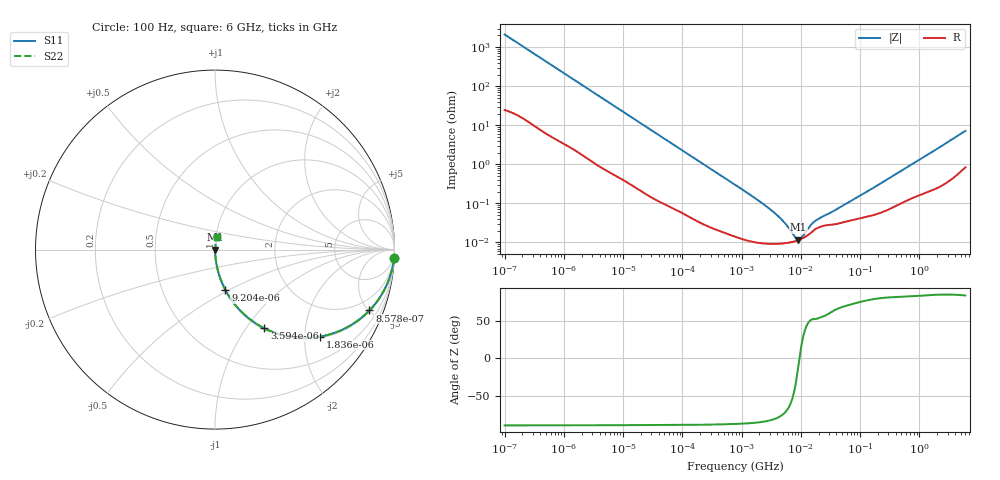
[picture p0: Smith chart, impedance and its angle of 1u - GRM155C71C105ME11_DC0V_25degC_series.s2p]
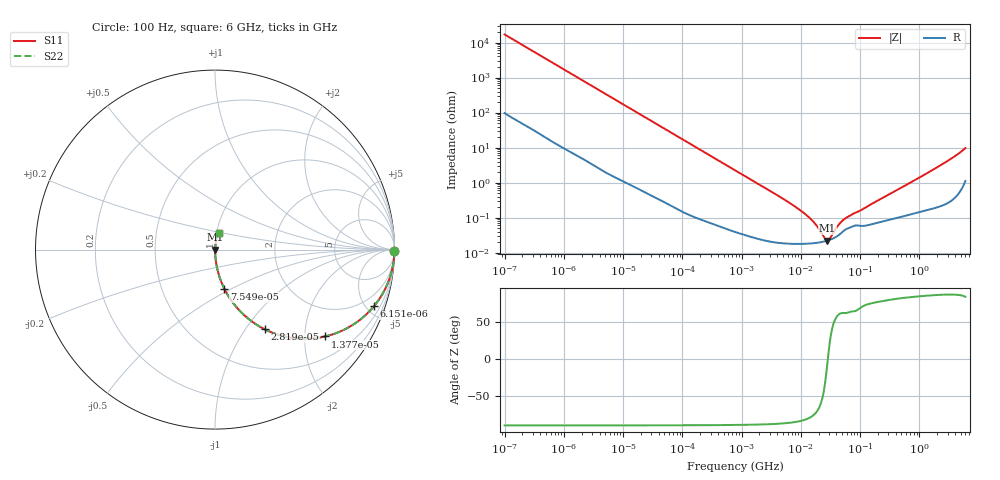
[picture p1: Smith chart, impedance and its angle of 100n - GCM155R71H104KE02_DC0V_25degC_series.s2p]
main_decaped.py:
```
# main_decap.py
# Compare IC Z11 with REAL decaps for both:
# (A) PowerSI 3-port Touchstone and (B) Your Python BEM/CIM/NVM Z.
# Frequency: 10 kHz – 200 MHz (log), just show the plot (no saving).

import numpy as np
import matplotlib.pyplot as plt
from pathlib import Path
from copy import deepcopy
import skrf as rf

from BEM_AC_NVM_PDN import PDN, short_1port, connect_1decap
from CIM_DC_RES import main_res
from input_AH import input_path, stackup_path, touchstone_path
from pdn_io.spd_parser import parse_spd
from pdn_io.stackup_parser import read_stackup
from pdn_analysis.plotting import plot_z_matrix

# ------------------ Config ------------------
FSTART  = 10e3          # 10 kHz
FSTOP   = 200e6         # 200 MHz
NPOINTS = 201           # log points

# Choose capacitor S2P files (vendor "series" models)
DECAP_FILES = {
    1: Path(r"capacitors\1u - GRM155C71C105ME11_DC0V_25degC_series.s2p"),     # decap @ port 1
    2: Path(r"capacitors\100n - GCM155R71H104KE02_DC0V_25degC_series.s2p"),   # decap @ port 2
}

TITLE = "IC Z11 with Real Decaps (PowerSI vs Python) — 10 kHz–200 MHz"


# ----------------- Helpers ------------------
def gen_brd_data(brd, spd_path: str, stackup_path: str, d: float = 1e-3):
    """Build board state and compute Z using your existing parsers and solvers."""
    parse_spd(
        brd, spd_path,
        ground_net="gnd", power_net="pwr",
        ic_port_tag="ic_port", decap_port_tag="decap_port",
        verbose=True
    )

    brd.sxy = np.concatenate([brd.seg_bd_node(single_bxy, d) for single_bxy in brd.bxy], axis=0)
    brd.sxy_index_ranges, offset = [], 0
    for b in brd.bxy:
        n_seg = brd.seg_bd_node(b, d).shape[0]
        brd.sxy_index_ranges.append((offset, offset + n_seg))
        offset += n_seg
    brd.sxy_list = [brd.seg_bd_node(b, d) for b in brd.bxy]

    die_t, er_list, d_r = read_stackup(stackup_path)
    brd.er_list, brd.die_t, brd.d_r = er_list, die_t, d_r

    res_matrix = main_res(brd=brd)
    z = brd.calc_z_fast(res_matrix=res_matrix, verbose=True)  # shape: (nf, 3, 3)
    return z


def _cap_to_shunt_z11(path: Path, freq: rf.Frequency) -> np.ndarray:
    """
    Convert vendor series S2P -> 1-port shunt-to-ground on 'freq'.
    Returns Z11(f) with shape (nf, 1, 1).
    """
    cap2p = rf.Network(str(path)).interpolate(freq)  # align to our 10 kHz..200 MHz grid
    cap1p, _ = short_1port(cap2p, shorted_port=1)    # short far port -> shunt 1-port
    return cap1p.z


# ------------------- Main -------------------
if __name__ == '__main__':

    # Unified frequency grid: 10 kHz .. 200 MHz (log)
    freq = np.logspace(np.log10(FSTART), np.log10(FSTOP), NPOINTS)
    Freq = rf.Frequency(start=FSTART/1e6, stop=FSTOP/1e6, npoints=NPOINTS, unit='mhz', sweep_type='log')

    # --- Load PowerSI 3-port on this grid
    pdn_ts = rf.Network(touchstone_path).interpolate(Freq)   # 3-port: [IC(0), decap1(1), decap2(2)]
    Z_ts = pdn_ts.z                                          # (nf, 3, 3)
    nf, n, _ = Z_ts.shape
    assert n == 3, "Expected a 3-port PDN (IC=0, decap1=1, decap2=2) in touchstone."

    # --- Build Python Z (your solver) on the same grid
    brd = PDN()
    # force PDN() to use the same grid for its internal calc
    brd.fstart = FSTART; brd.fstop = FSTOP; brd.nf = NPOINTS
    brd.freq = rf.Frequency(start=FSTART/1e6, stop=FSTOP/1e6, npoints=NPOINTS, unit='mhz', sweep_type='log')

    Z_py = gen_brd_data(brd, input_path, stackup_path)       # expect (nf, 3, 3)
    assert Z_py.shape[:2] == (NPOINTS, 3), "Python Z must be (nf,3,3) on the same grid."

    # --- Load two capacitor models and convert to shunt 1-port Z11 on this grid
    for p in (1, 2):
        if not DECAP_FILES[p].exists():
            raise FileNotFoundError(f"Cap file for port {p} not found: {DECAP_FILES[p]}")
    Zcap = {
        1: _cap_to_shunt_z11(DECAP_FILES[1], pdn_ts.frequency),  # (nf,1,1)
        2: _cap_to_shunt_z11(DECAP_FILES[2], pdn_ts.frequency),
    }

    # --- Connect decaps to PowerSI Z and reduce to IC-only
    Z_ts_cur = deepcopy(Z_ts)
    port_map_ts = [0, 1, 2]

    idx_p1 = port_map_ts.index(1)
    Z_ts_cur, port_map_ts = connect_1decap(Z_ts_cur, port_map_ts, idx_p1, Zcap[1])

    idx_p2 = port_map_ts.index(2)
    Z_ts_cur, port_map_ts = connect_1decap(Z_ts_cur, port_map_ts, idx_p2, Zcap[2])

    assert len(port_map_ts) == 1 and port_map_ts[0] == 0, f"Unexpected touchstone port map: {port_map_ts}"
    # Z_ts_cur is (nf, 1, 1)

    # --- Connect decaps to Python Z and reduce to IC-only
    Z_py_cur = deepcopy(Z_py)
    port_map_py = [0, 1, 2]

    idx_p1_py = port_map_py.index(1)
    Z_py_cur, port_map_py = connect_1decap(Z_py_cur, port_map_py, idx_p1_py, Zcap[1])

    idx_p2_py = port_map_py.index(2)
    Z_py_cur, port_map_py = connect_1decap(Z_py_cur, port_map_py, idx_p2_py, Zcap[2])

    assert len(port_map_py) == 1 and port_map_py[0] == 0, f"Unexpected Python port map: {port_map_py}"
    # Z_py_cur is (nf, 1, 1)

    # --- Plot: 4 curves — open-others (PowerSI & Python) and with decaps (PowerSI & Python)
    fig, ax = plot_z_matrix(
        freq=freq,
        z_matrix=Z_ts,
        indices=(0, 0),
        legend=["PowerSI Z11 (others open)"],
        scale=("log", "log"),
        xlabel="Frequency (Hz)",
        ylabel="|Z| (Ω)",
        title=TITLE,
        color="tab:orange",
        linestyle="--",
        linewidth=2,
    )

    _ = plot_z_matrix(
        freq=freq,
        z_matrix=Z_py,
        indices=(0, 0),
        legend=["Python Z11 (others open)"],
        color="tab:green",
        linestyle="-.",
        linewidth=2,
        ax=ax,
    )

    _ = plot_z_matrix(
        freq=freq,
        z_matrix=Z_ts_cur,       # (nf,1,1)
        indices=(0, 0),
        legend=["PowerSI Z11 (with decaps)"],
        color="tab:blue",
        linestyle="-",
        linewidth=2,
        ax=ax,
    )

    _ = plot_z_matrix(
        freq=freq,
        z_matrix=Z_py_cur,       # (nf,1,1)
        indices=(0, 0),
        legend=["Python Z11 (with decaps)"],
        color="tab:red",
        linestyle="-",
        linewidth=2,
        ax=ax,
    )

    # small caption for which caps were used
    cap_note = f"Decaps: {DECAP_FILES[1].name} (port 1), {DECAP_FILES[2].name} (port 2)"
    fig.text(0.99, 0.02, cap_note, ha="right", va="bottom", fontsize=9)

    plt.show()
```
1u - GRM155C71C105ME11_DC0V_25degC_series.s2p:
!Murata Part Number: GRM155C71C105ME11
!These Parameters are Measured in Series Mode Connection
!  o--ll--o
!Port1  Port2
!  o------o
!Operation Temp=25[degC], DC Bias Voltage=0[V]
!Freq. Start=100[Hz] Stop=6[GHz], 401[Steps]
!Data Generated on Oct 1, 2021
# Hz S RI R 50
!Freq.(Hz) S11(Real) S11(Imag) S21(Real) S21(Imag) S12(Real) S12(Imag) S22(Real) S22(Imag)
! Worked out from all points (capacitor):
!   401 points, 100 Hz to 6 GHz, reference 50 ohm
!   read as one part in series: C = 749 nF near 109.4 Hz
!   lowest |Z| = 11.7 mohm at 9.09 MHz (marker M1)
!   series resonance near 9.496 MHz, so ESL is about 380 pH
!   S11 on the Smith chart (normalised r, x): 100 Hz: 1, -42; 857.8 Hz: 1.08, -5.05; 1.836 kHz: 1.04, -2.38; 3.594 kHz: 1.02, -1.22; 9.204 kHz: 1.01, -0.48; 6 GHz: 1.02, +0.14
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100  0.9972 -0.047  0.00277 0.047  0.00277 0.047  0.9972 -0.047
857.7844  0.8605 -0.3389  0.1395 0.3389  0.1395 0.3389  0.8605 -0.3389
1836.325  0.5842 -0.4848  0.4158 0.4848  0.4158 0.4848  0.5842 -0.4848
3594.432  0.2752 -0.4387  0.7248 0.4387  0.7248 0.4387  0.2752 -0.4387
9204.139  0.0585 -0.2259  0.9415 0.2259  0.9415 0.2259  0.0585 -0.2259
44113.49  0.00365 -0.0509  0.9964 0.0509  0.9964 0.0509  0.00365 -0.0509
774596.7  0.00015 -0.00301  0.9999 0.00301  0.9999 0.00301  0.00015 -0.00301
3549919  9.21e-05 -0.000576  0.9999 0.000576  0.9999 0.000576  9.21e-05 -0.000576
9090158  0.000115 -2.16e-05  0.9999 2.16e-05  0.9999 2.16e-05  0.000115 -2.16e-05
1.86079e7  0.000231 0.000301  0.9998 -0.000301  0.9998 -0.000301  0.000231 0.000301
6e9  0.0133 0.0701  0.9867 -0.0701  0.9867 -0.0701  0.0133 0.0701
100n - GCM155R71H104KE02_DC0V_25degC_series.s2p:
!Murata Part Number: GCM155R71H104KE02
!These Parameters are Measured in Series Mode Connection
!  o--ll--o
!Port1  Port2
!  o------o
!Operation Temp=25[degC], DC Bias Voltage=0[V]
!Freq. Start=100[Hz] Stop=6[GHz], 401[Steps]
!Data Generated on Feb 4, 2025
# Hz S RI R 50
!Freq.(Hz) S11(Real) S11(Imag) S21(Real) S21(Imag) S12(Real) S12(Imag) S22(Real) S22(Imag)
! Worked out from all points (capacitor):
!   401 points, 100 Hz to 6 GHz, reference 50 ohm
!   read as one part in series: C = 93.4 nF near 109.4 Hz
!   lowest |Z| = 22.1 mohm at 27.84 MHz (marker M1)
!   series resonance near 28.59 MHz, so ESL is about 330 pH
!   S11 on the Smith chart (normalised r, x): 100 Hz: open; 6.151 kHz: 1.03, -5.61; 13.77 kHz: 1.02, -2.51; 28.19 kHz: 1.01, -1.23; 75.49 kHz: 1.00, -0.46; 6 GHz: 1.02, +0.19
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100  0.9999 -0.00587  6.78e-05 0.00587  6.78e-05 0.00587  0.9999 -0.00587
1342.245  0.9935 -0.0776  0.00651 0.0776  0.00651 0.0776  0.9935 -0.0776
6151.412  0.886 -0.315  0.114 0.315  0.114 0.315  0.886 -0.315
13771.83  0.6119 -0.484  0.3881 0.484  0.3881 0.484  0.6119 -0.484
28191.46  0.2767 -0.4437  0.7233 0.4437  0.7233 0.4437  0.2767 -0.4437
75494.61  0.0523 -0.2187  0.9477 0.2187  0.9477 0.2187  0.0523 -0.2187
774596.7  0.000909 -0.0228  0.9991 0.0228  0.9991 0.0228  0.000909 -0.0228
1.039699e7  0.00018 -0.00149  0.9998 0.00149  0.9998 0.00149  0.00018 -0.00149
2.784235e7  0.000219 -3.31e-05  0.9998 3.31e-05  0.9998 3.31e-05  0.000219 -3.31e-05
5.699437e7  0.00046 0.000846  0.9995 -0.000846  0.9995 -0.000846  0.00046 0.000846
6e9  0.0199 0.0935  0.9801 -0.0935  0.9801 -0.0935  0.0199 0.0935
